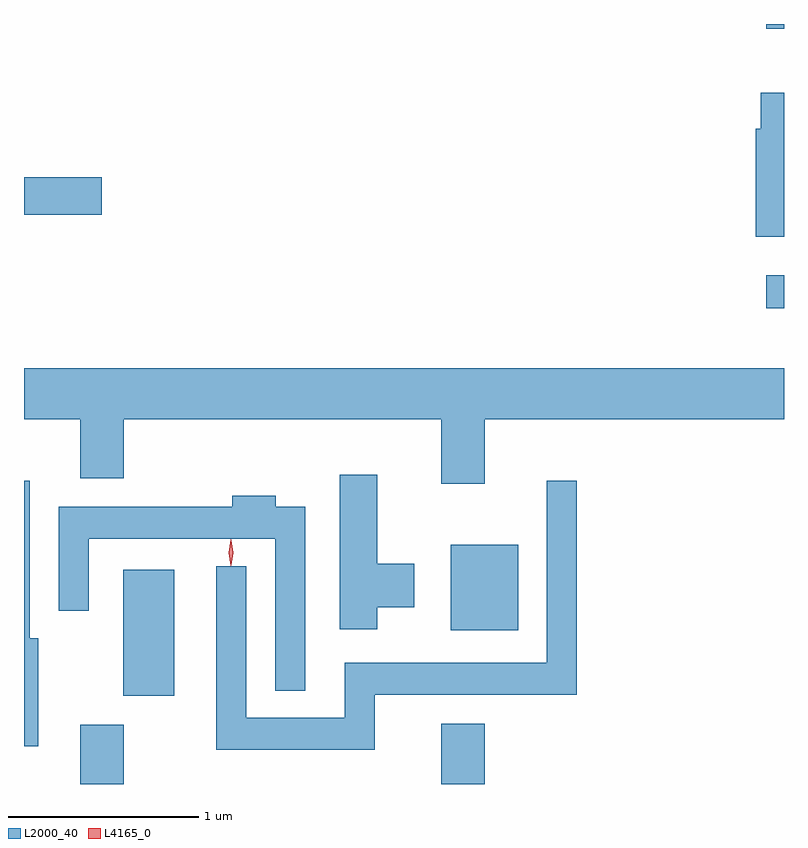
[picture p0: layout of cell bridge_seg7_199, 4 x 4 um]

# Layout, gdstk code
import gdstk
lib = gdstk.Library(unit=1e-6, precision=1e-09)
def R(c, l, rs):  # rectangles x0, y0, x1, y1
    for r in rs: c.add(gdstk.rectangle(r[:2], r[2:], *l))
def P(c, l, *ps):  # polygons
    for p in ps: c.add(gdstk.Polygon(p, *l))
L2000_40 = (2000, 40)
L4165_0 = (4165, 0)

bridge_seg7_199 = lib.new_cell('bridge_seg7_199')
R(bridge_seg7_199, L2000_40, [(1482.291,1714.616,1482.519,1714.929), (1484.191,1714.616,1484.419,1714.934), (1482.516,1715.081,1482.784,1715.744), (1484.241,1715.426,1484.594,1715.874), (1485.901,1717.121,1485.994,1717.294), (1481.994,1717.611,1482.404,1717.809), (1485.901,1718.591,1485.994,1718.616)])
P(bridge_seg7_199, L2000_40, [(1485.994,1718.254),(1485.871,1718.254),(1485.871,1718.064),(1485.846,1718.064),(1485.846,1717.496),(1485.994,1717.496)],
  [(1484.419,1716.536),(1485.994,1716.536),(1485.994,1716.804),(1481.994,1716.804),(1481.994,1716.536),(1482.291,1716.536),(1482.291,1716.226),(1482.519,1716.226),(1482.519,1716.536),(1484.191,1716.536),(1484.191,1716.196),(1484.419,1716.196)],
  [(1483.854,1715.546),(1484.049,1715.546),(1484.049,1715.774),(1483.854,1715.774),(1483.854,1716.244),(1483.656,1716.244),(1483.656,1715.431),(1483.854,1715.431)],
  [(1483.839,1715.086),(1484.904,1715.086),(1484.904,1716.213),(1484.746,1716.213),(1484.746,1715.254),(1483.681,1715.254),(1483.681,1714.964),(1483.164,1714.964),(1483.164,1715.763),(1483.006,1715.763),(1483.006,1714.796),(1483.839,1714.796)],
  [(1482.069,1715.384),(1482.024,1715.384),(1482.024,1716.213),(1481.994,1716.213),(1481.994,1714.816),(1482.069,1714.816)],
  [(1483.474,1716.074),(1483.319,1716.074),(1483.319,1716.134),(1483.091,1716.134),(1483.091,1716.074),(1482.176,1716.074),(1482.176,1715.528),(1482.334,1715.528),(1482.334,1715.906),(1483.316,1715.906),(1483.316,1715.108),(1483.474,1715.108)])
P(bridge_seg7_199, L4165_0, [(1483.082,1715.763),(1483.081,1715.764),(1483.072,1715.833),(1483.081,1715.902),(1483.082,1715.903),(1483.082,1715.902),(1483.092,1715.833),(1483.082,1715.764)],
  [(1483.084,1715.767),(1483.075,1715.834),(1483.084,1715.9),(1483.085,1715.901),(1483.085,1715.9),(1483.095,1715.834),(1483.085,1715.767),(1483.085,1715.767)])

lib.write_gds('bridge_seg7_199.gds')
